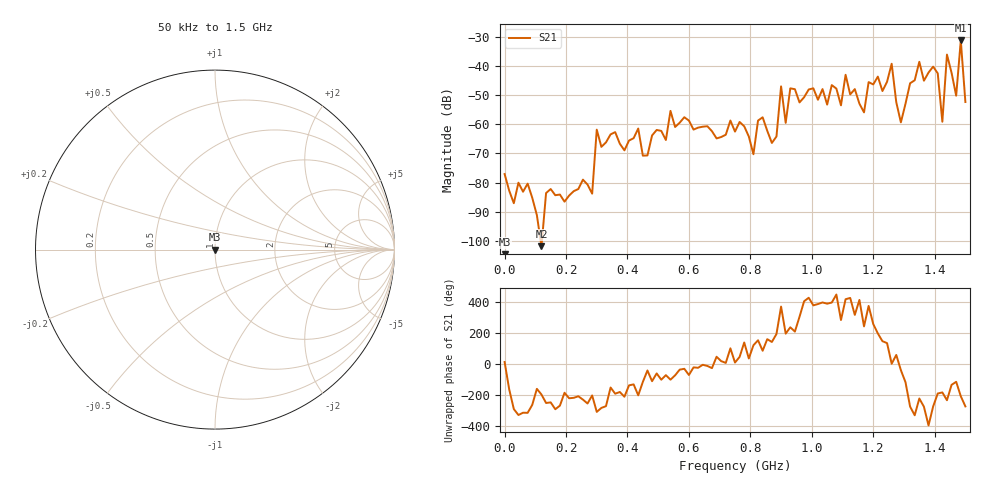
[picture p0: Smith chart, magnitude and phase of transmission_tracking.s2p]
! Created with skrf 1.8.0 (http://scikit-rf.org).
# Hz S RI R 50.0
!freq ReS11 ImS11 ReS21 ImS21 ReS12 ImS12 ReS22 ImS22
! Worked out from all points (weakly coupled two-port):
!   101 points, 50 kHz to 1.5 GHz, reference 50 ohm
!   highest |S21| = -31.29 dB at 1.485 GHz (marker M1); lowest = -101.8 dB at 120 MHz (marker M2)
!   lowest |S11| = - dB at 50 kHz (marker M3), VSWR 1.00, Z = 50 + j0 ohm
!   |S11| at or under -10 dB: start of sweep to end of sweep
!   S12 and S22 are empty: the file has one direction only
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50000  0 0  0.000136 3.28e-05  0 0  0 0
1.20046e8  0 0  -7.83e-06 2.12e-06  0 0  0 0
2.550415e8  0 0  -7.53e-05 8.3e-05  0 0  0 0
2.850405e8  0 0  -6.02e-05 2.31e-05  0 0  0 0
3.0004e8  0 0  0.000479 0.000649  0 0  0 0
5.10033e8  0 0  -0.000134 -0.000756  0 0  0 0
7.50025e8  0 0  0.000735 0.000128  0 0  0 0
8.10023e8  0 0  -0.000156 0.000263  0 0  0 0
8.850205e8  0 0  -0.0006 -0.000137  0 0  0 0
9.0002e8  0 0  0.0044 0.000664  0 0  0 0
9.150195e8  0 0  -0.00102 -0.000275  0 0  0 0
1.005016e9  0 0  0.00395 0.00117  0 0  0 0
1.170011e9  0 0  -0.000755 -0.00141  0 0  0 0
1.260008e9  0 0  0.0109 0.000456  0 0  0 0
1.290007e9  0 0  0.000836 -0.000677  0 0  0 0
1.350005e9  0 0  -0.00893 0.00763  0 0  0 0
1.410003e9  0 0  -0.00736 0.0011  0 0  0 0
1.425002e9  0 0  -0.0011 3.11e-05  0 0  0 0
1.440002e9  0 0  -0.00969 0.0122  0 0  0 0
1.470001e9  0 0  -0.00123 -0.00283  0 0  0 0
1.485e9  0 0  -0.0245 0.0119  0 0  0 0
1.5e9  0 0  5.44e-05 0.0024  0 0  0 0
